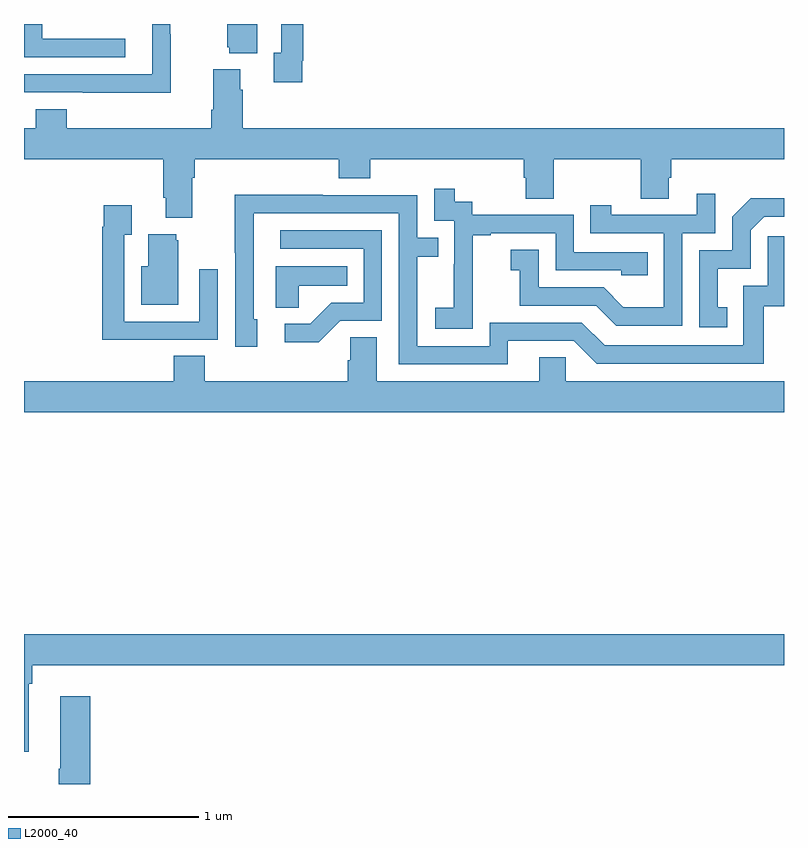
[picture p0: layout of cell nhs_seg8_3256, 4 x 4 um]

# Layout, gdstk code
import gdstk
lib = gdstk.Library(unit=1e-6, precision=1e-09)
def P(c, l, *ps):  # polygons
    for p in ps: c.add(gdstk.Polygon(p, *l))
L2000_40 = (2000, 40)

nhs_seg8_3256 = lib.new_cell('nhs_seg8_3256')
P(nhs_seg8_3256, L2000_40, [(313.773,1095.845),(313.77,1095.845),(313.77,1095.9),(313.674,1095.9),(313.674,1095.636),(313,1095.636),(313,1095.54),(313.309,1095.54),(313.309,1095.539),(313.773,1095.539)],
  [(314.464,1095.706),(314.471,1095.706),(314.471,1095.9),(314.355,1095.9),(314.355,1095.75),(314.315,1095.75),(314.315,1095.594),(314.464,1095.594)],
  [(314.227,1095.9),(314.069,1095.9),(314.069,1095.777),(314.081,1095.777),(314.081,1095.746),(314.227,1095.746)],
  [(313.534,1095.822),(313.095,1095.822),(313.095,1095.9),(313,1095.9),(313,1095.726),(313.534,1095.726)],
  [(314.15,1095.554),(314.137,1095.554),(314.137,1095.661),(313.997,1095.661),(313.997,1095.448),(313.985,1095.448),(313.985,1095.352),(313.226,1095.352),(313.226,1095.451),(313.061,1095.451),(313.061,1095.352),(313,1095.352),(313,1095.188),(313.733,1095.188),(313.733,1094.986),(313.745,1094.986),(313.745,1094.879),(313.885,1094.879),(313.885,1095.092),(313.898,1095.092),(313.898,1095.188),(314.657,1095.188),(314.657,1095.089),(314.822,1095.089),(314.822,1095.188),(315.629,1095.188),(315.629,1095.09),(315.641,1095.09),(315.641,1094.98),(315.789,1094.98),(315.789,1095.188),(316.246,1095.188),(316.246,1094.98),(316.393,1094.98),(316.393,1095.09),(316.406,1095.09),(316.406,1095.188),(317,1095.188),(317,1095.352),(314.15,1095.352)],
  [(315.363,1094.503),(315.362,1094.503),(315.362,1094.787),(315.457,1094.787),(315.457,1094.799),(315.798,1094.799),(315.798,1094.604),(316.143,1094.604),(316.143,1094.577),(316.283,1094.577),(316.283,1094.7),(315.894,1094.7),(315.894,1094.895),(315.36,1094.895),(315.36,1094.964),(315.268,1094.964),(315.268,1095.034),(315.159,1095.034),(315.159,1094.865),(315.264,1094.865),(315.264,1094.636),(315.263,1094.636),(315.263,1094.407),(315.165,1094.407),(315.165,1094.297),(315.363,1094.297)],
  [(316.464,1094.799),(316.638,1094.799),(316.638,1095.007),(316.541,1095.007),(316.541,1094.895),(316.09,1094.895),(316.09,1094.947),(315.979,1094.947),(315.979,1094.799),(316.368,1094.799),(316.368,1094.41),(316.154,1094.41),(316.05,1094.514),(315.708,1094.514),(315.708,1094.713),(315.561,1094.713),(315.561,1094.603),(315.61,1094.603),(315.61,1094.418),(316.013,1094.418),(316.118,1094.313),(316.464,1094.313)],
  [(315.547,1094.232),(315.894,1094.232),(316.014,1094.112),(316.894,1094.112),(316.894,1094.415),(317,1094.415),(317,1094.782),(316.914,1094.782),(316.914,1094.523),(316.785,1094.523),(316.785,1094.208),(316.056,1094.208),(315.936,1094.328),(315.45,1094.328),(315.45,1094.205),(315.069,1094.205),(315.069,1094.674),(315.179,1094.674),(315.179,1094.775),(315.069,1094.775),(315.069,1095),(314.573,1095),(314.573,1095.002),(314.11,1095.002),(314.11,1094.695),(314.112,1094.695),(314.112,1094.202),(314.227,1094.202),(314.227,1094.346),(314.208,1094.346),(314.208,1094.904),(314.973,1094.904),(314.973,1094.109),(315.547,1094.109)],
  [(316.7,1094.409),(316.651,1094.409),(316.651,1094.613),(316.824,1094.613),(316.824,1094.814),(316.896,1094.886),(317,1094.886),(317,1094.984),(316.826,1094.984),(316.728,1094.886),(316.728,1094.709),(316.554,1094.709),(316.554,1094.304),(316.7,1094.304)],
  [(313.703,1094.238),(314.019,1094.238),(314.019,1094.608),(313.923,1094.608),(313.923,1094.334),(313.527,1094.334),(313.527,1094.791),(313.567,1094.791),(313.567,1094.947),(313.419,1094.947),(313.419,1094.834),(313.411,1094.834),(313.411,1094.237),(313.703,1094.237)],
  [(314.664,1094.337),(314.883,1094.337),(314.883,1094.814),(314.349,1094.814),(314.349,1094.718),(314.787,1094.718),(314.787,1094.433),(314.618,1094.433),(314.507,1094.322),(314.373,1094.322),(314.373,1094.225),(314.551,1094.225)],
  [(313.813,1094.763),(313.802,1094.763),(313.802,1094.794),(313.655,1094.794),(313.655,1094.626),(313.616,1094.626),(313.616,1094.423),(313.813,1094.423)],
  [(314.445,1094.522),(314.702,1094.522),(314.702,1094.626),(314.324,1094.626),(314.324,1094.407),(314.445,1094.407)],
  [(317,1094.02),(315.852,1094.02),(315.852,1094.147),(315.713,1094.147),(315.713,1094.02),(314.857,1094.02),(314.857,1094.252),(314.718,1094.252),(314.718,1094.129),(314.705,1094.129),(314.705,1094.02),(313.952,1094.02),(313.952,1094.153),(313.787,1094.153),(313.787,1094.02),(313,1094.02),(313,1093.856),(317,1093.856)],
  [(313.024,1092.428),(313.043,1092.428),(313.043,1092.524),(317,1092.524),(317,1092.688),(313,1092.688),(313,1092.069),(313.024,1092.069)],
  [(313.349,1092.361),(313.19,1092.361),(313.19,1091.981),(313.183,1091.981),(313.183,1091.9),(313.349,1091.9)])

lib.write_gds('nhs_seg8_3256.gds')
